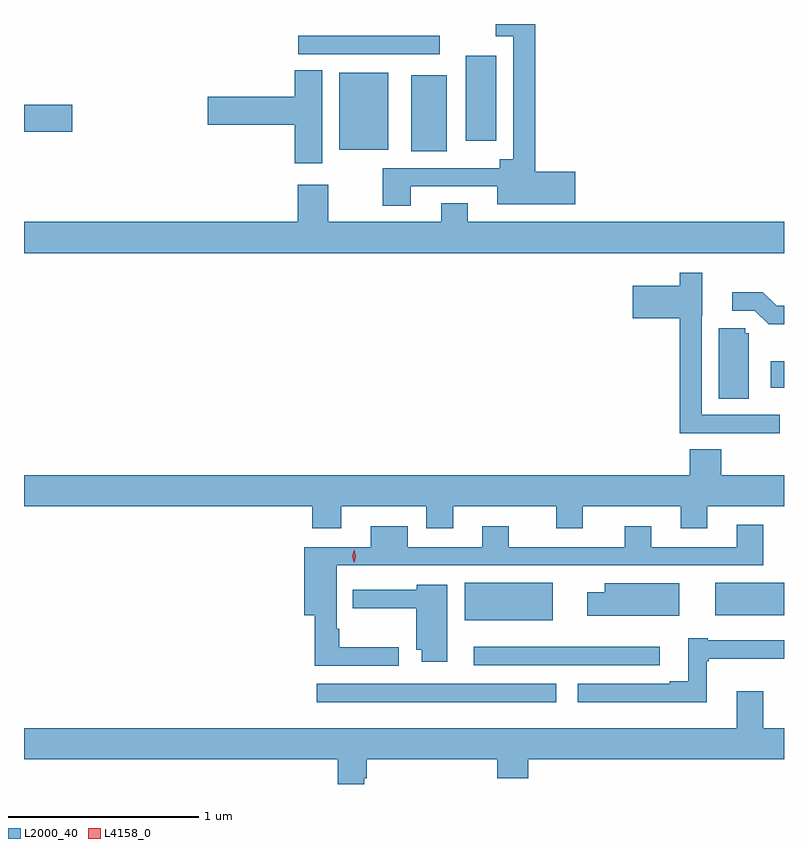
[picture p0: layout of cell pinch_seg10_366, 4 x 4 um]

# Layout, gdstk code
import gdstk
lib = gdstk.Library(unit=1e-6, precision=1e-09)
def R(c, l, rs):  # rectangles x0, y0, x1, y1
    for r in rs: c.add(gdstk.rectangle(r[:2], r[2:], *l))
def P(c, l, *ps):  # polygons
    for p in ps: c.add(gdstk.Polygon(p, *l))
L2000_40 = (2000, 40)
L4158_0 = (4158, 0)

pinch_seg10_366 = lib.new_cell('pinch_seg10_366')
R(pinch_seg10_366, L2000_40, [(586.821,1284.632,588.082,1284.729), (587.649,1284.828,588.628,1284.925), (587.6,1285.064,588.064,1285.261), (588.92,1285.091,589.281,1285.261), (589.212,1286.288,589.281,1286.428), (587.318,1287.533,587.506,1287.931), (586.94,1287.539,587.197,1287.946), (587.606,1287.588,587.767,1288.036), (585.281,1287.634,585.535,1287.776), (586.725,1288.044,587.47,1288.14)])
P(pinch_seg10_366, L2000_40, [(587.317,1287.348),(587.771,1287.348),(587.771,1287.254),(588.181,1287.254),(588.181,1287.425),(587.972,1287.425),(587.972,1288.202),(587.763,1288.202),(587.763,1288.137),(587.856,1288.137),(587.856,1287.49),(587.786,1287.49),(587.786,1287.444),(587.17,1287.444),(587.17,1287.246),(587.317,1287.246)],
  [(586.852,1287.959),(586.706,1287.959),(586.706,1287.818),(586.248,1287.818),(586.248,1287.671),(586.706,1287.671),(586.706,1287.468),(586.852,1287.468)],
  [(589.281,1287.16),(587.617,1287.16),(587.617,1287.259),(587.477,1287.259),(587.477,1287.16),(586.881,1287.16),(586.881,1287.355),(586.721,1287.355),(586.721,1287.16),(585.281,1287.16),(585.281,1286.996),(589.281,1286.996)],
  [(589.258,1286.145),(588.849,1286.145),(588.849,1286.67),(588.85,1286.67),(588.85,1286.893),(588.733,1286.893),(588.733,1286.824),(588.486,1286.824),(588.486,1286.654),(588.733,1286.654),(588.733,1286.049),(589.033,1286.049),(589.033,1286.047),(589.258,1286.047)],
  [(589.281,1286.718),(589.242,1286.718),(589.169,1286.791),(589.008,1286.791),(589.008,1286.694),(589.128,1286.694),(589.201,1286.621),(589.281,1286.621)],
  [(589.096,1286.574),(589.077,1286.574),(589.077,1286.601),(588.938,1286.601),(588.938,1286.23),(589.096,1286.23)],
  [(586.951,1285.664),(587.399,1285.664),(587.399,1285.547),(587.539,1285.547),(587.539,1285.664),(588.083,1285.664),(588.083,1285.547),(588.223,1285.547),(588.223,1285.664),(588.737,1285.664),(588.737,1285.547),(588.877,1285.547),(588.877,1285.664),(589.281,1285.664),(589.281,1285.828),(588.95,1285.828),(588.95,1285.964),(588.785,1285.964),(588.785,1285.828),(585.281,1285.828),(585.281,1285.664),(586.799,1285.664),(586.799,1285.547),(586.951,1285.547)],
  [(587.254,1284.923),(586.939,1284.923),(586.939,1285.018),(586.926,1285.018),(586.926,1285.353),(589.171,1285.353),(589.171,1285.567),(589.031,1285.567),(589.031,1285.449),(588.583,1285.449),(588.583,1285.558),(588.443,1285.558),(588.443,1285.449),(587.833,1285.449),(587.833,1285.558),(587.693,1285.558),(587.693,1285.449),(587.302,1285.449),(587.302,1285.558),(587.105,1285.558),(587.105,1285.449),(586.757,1285.449),(586.757,1285.091),(586.81,1285.091),(586.81,1284.825),(587.254,1284.825)],
  [(588.73,1285.258),(588.338,1285.258),(588.338,1285.21),(588.246,1285.21),(588.246,1285.088),(588.73,1285.088)],
  [(587.509,1285.252),(587.349,1285.252),(587.349,1285.224),(587.011,1285.224),(587.011,1285.127),(587.345,1285.127),(587.345,1284.908),(587.375,1284.908),(587.375,1284.846),(587.509,1284.846)],
  [(588.874,1284.849),(588.886,1284.849),(588.886,1284.86),(589.281,1284.86),(589.281,1284.958),(588.88,1284.958),(588.88,1284.97),(588.776,1284.97),(588.776,1284.742),(588.68,1284.742),(588.68,1284.729),(588.195,1284.729),(588.195,1284.632),(588.874,1284.632)],
  [(587.071,1284.231),(587.084,1284.231),(587.084,1284.332),(587.771,1284.332),(587.771,1284.233),(587.936,1284.233),(587.936,1284.332),(589.281,1284.332),(589.281,1284.496),(589.171,1284.496),(589.171,1284.691),(589.031,1284.691),(589.031,1284.496),(585.281,1284.496),(585.281,1284.332),(586.931,1284.332),(586.931,1284.202),(587.071,1284.202)])
P(pinch_seg10_366, L4158_0, [(587.018,1285.366),(587.018,1285.366),(587.008,1285.401),(587.018,1285.435),(587.018,1285.436),(587.018,1285.435),(587.028,1285.401),(587.018,1285.366)])

lib.write_gds('pinch_seg10_366.gds')
